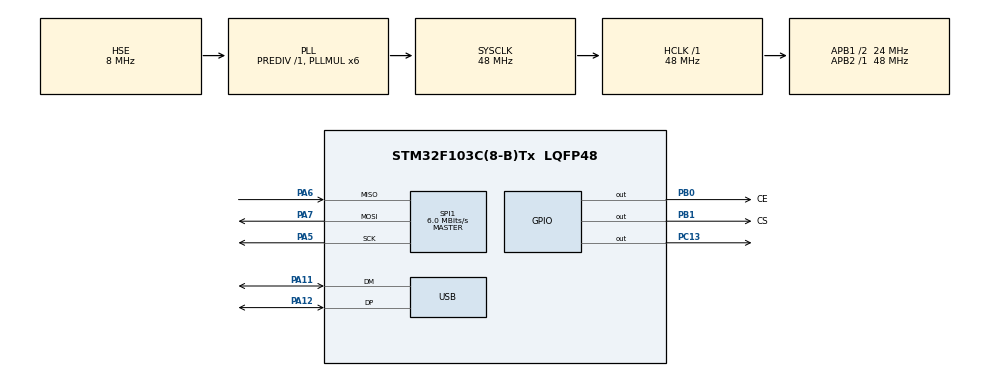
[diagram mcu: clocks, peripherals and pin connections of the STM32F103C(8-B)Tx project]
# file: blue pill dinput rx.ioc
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Mcu.Family=STM32F1
Mcu.Name=STM32F103C(8-B)Tx
Mcu.Package=LQFP48
NVIC.PriorityGroup=NVIC_PRIORITYGROUP_4
NVIC.SPI1_IRQn=true\:0\:0\:false\:false\:true\:true\:true\:true
NVIC.USB_LP_CAN1_RX0_IRQn=true\:0\:0\:false\:false\:true\:false\:true\:true
PA11.Mode=Device
PA11.Signal=USB_DM
PA12.Mode=Device
PA12.Signal=USB_DP
PA13.Mode=Serial_Wire
PA13.Signal=SYS_JTMS-SWDIO
PA14.Mode=Serial_Wire
PA14.Signal=SYS_JTCK-SWCLK
PA5.Mode=Full_Duplex_Master
PA5.Signal=SPI1_SCK
PA6.Mode=Full_Duplex_Master
PA6.Signal=SPI1_MISO
PA7.Mode=Full_Duplex_Master
PA7.Signal=SPI1_MOSI
PB0.GPIO_Label=CE
PB0.GPIO_Speed=GPIO_SPEED_FREQ_HIGH
PB0.Signal=GPIO_Output
PB1.GPIO_Label=CS
PB1.GPIO_Speed=GPIO_SPEED_FREQ_HIGH
PB1.Signal=GPIO_Output
PC13-TAMPER-RTC.Signal=GPIO_Output
PD0-OSC_IN.Mode=HSE-External-Oscillator
PD0-OSC_IN.Signal=RCC_OSC_IN
PD1-OSC_OUT.Mode=HSE-External-Oscillator
PD1-OSC_OUT.Signal=RCC_OSC_OUT
ProjectManager.HeapSize=0x200
ProjectManager.StackSize=0x400
ProjectManager.TargetToolchain=STM32CubeIDE
RCC.ADCPresc=RCC_ADCPCLK2_DIV4
RCC.AHBFreq_Value=48000000
RCC.APB1CLKDivider=RCC_HCLK_DIV2
RCC.APB1Freq_Value=24000000
RCC.APB1TimFreq_Value=48000000
RCC.APB2Freq_Value=48000000
RCC.APB2TimFreq_Value=48000000
RCC.HCLKFreq_Value=48000000
RCC.PLLMUL=RCC_PLL_MUL6
RCC.SYSCLKFreq_VALUE=48000000
RCC.SYSCLKSource=RCC_SYSCLKSOURCE_PLLCLK
RCC.USBFreq_Value=48000000
SPI1.BaudRatePrescaler=SPI_BAUDRATEPRESCALER_8
SPI1.CalculateBaudRate=6.0 MBits/s
SPI1.Direction=SPI_DIRECTION_2LINES
SPI1.Mode=SPI_MODE_MASTER
SPI1.VirtualType=VM_MASTER
USB_DEVICE.CLASS_NAME_FS=HID
USB_DEVICE.MANUFACTURER_STRING=Pie1722
USB_DEVICE.PRODUCT_STRING_HID_FS=BluePill
USB_DEVICE.VirtualMode=Hid
USB_DEVICE.VirtualModeFS=Hid_FS
VP_USB_DEVICE_VS_USB_DEVICE_HID_FS.Mode=HID_FS
board=custom

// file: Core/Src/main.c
/* USER CODE BEGIN Header */
/**
  ******************************************************************************
  * @file           : main.c
  * @brief          : Main program body
  ******************************************************************************
  * @attention
  *
  * Copyright (c) 2025 STMicroelectronics.
  * All rights reserved.
  *
  * This software is licensed under terms that can be found in the LICENSE file
  * in the root directory of this software component.
  * If no LICENSE file comes with this software, it is provided AS-IS.
  *
  ******************************************************************************
  */
/* USER CODE END Header */
#include "main.h"
#include "usb_device.h"

/* USER CODE BEGIN Includes */
#include "usbd_hid.h"
#include "stm32f1xx_hal.h"
#include "NRF24.h"
#include "NRF24_conf.h"
#include "NRF24_reg_addresses.h"
extern USBD_HandleTypeDef hUsbDeviceFS;
/* USER CODE END Includes */

/* USER CODE BEGIN PD */
typedef struct __attribute__((packed)) {
    uint16_t buttons;
    uint8_t hat;
    int16_t x, y, za, zr;
} joystickReport;

struct JoystickData {
  uint16_t code;
  uint16_t xAxis;
  uint16_t yAxis;
  uint16_t rXaxis;
  uint16_t rYaxis;
  uint16_t buttons;    // 16 bits, 16 buttons
};

struct JoystickData joy;

void reset_joystick_state(void)
{
    joy.code = 0;
    joy.xAxis = 0;
    joy.yAxis = 0;
    joy.rXaxis = 0;
    joy.rYaxis = 0;
    joy.buttons = 0;
}

/* USER CODE END PD */

SPI_HandleTypeDef hspi1;

void SystemClock_Config(void);
static void MX_GPIO_Init(void);
static void MX_SPI1_Init(void);

/* USER CODE BEGIN 0 */

#define PLD_S sizeof(joy)

uint32_t led_timeout = 0;

//uint8_t tx_ack_pld[PLD_S];
uint8_t tx_addr[5] = {0x45, 0x55, 0x67, 0x10, 0x21};

uint8_t nrf24_is_connected(void)
{
    uint8_t testVal = 0x0A;  // Random check pattern
    uint8_t readVal = 0;

    // Write CONFIG register
    nrf24_w_reg(CONFIG, &testVal, 1);

    // Read CONFIG register
    readVal = nrf24_r_reg(CONFIG, 1);

    return (readVal == testVal);
}

uint8_t get_hat_value(uint16_t btn)
{
	uint8_t up    = (btn >> 0) & 1;
	uint8_t down  = (btn >> 1) & 1;
	uint8_t left  = (btn >> 2) & 1;
	uint8_t right = (btn >> 3) & 1;

    if (up)            return 0;  // Up
    if (up && right)   return 1;  // Up-Right
    if (right)         return 2;  // Right
    if (right && down) return 3;  // Down-Right
    if (down)          return 4;  // Down
    if (down && left)  return 5;  // Down-Left
    if (left)          return 6;  // Left
    if (left && up)    return 7;  // Up-Left

    return 0x0F;  // Neutral
}

void send_gamepad_report(void)
{

	joystickReport report = {0};
    uint16_t btn = joy.buttons;

    // ---- Buttons: Read 10 GPIOs  ----
    report.buttons |= (((btn >> 9)  & 1) << 0);  // X
    report.buttons |= (((btn >> 10) & 1) << 1);  // A
    report.buttons |= (((btn >> 11) & 1) << 2);  // B
    report.buttons |= (((btn >> 8)  & 1) << 3);  // Y
    report.buttons |= (((btn >> 5)  & 1) << 4);  // LB
    report.buttons |= (((btn >> 7)  & 1) << 5);  // RB
    report.buttons |= (((btn >> 4)  & 1) << 6);  // LT
    report.buttons |= (((btn >> 6)  & 1) << 7);  // RT
    report.buttons |= (((btn >> 14) & 1) << 8);  // Back
    report.buttons |= (((btn >> 15) & 1) << 9);  // Start
    report.buttons |= (((btn >> 12) & 1) << 10); // L3
    report.buttons |= (((btn >> 13) & 1) << 11); // R3

    // ---- Hat switch ----
    report.hat = get_hat_value(btn);

    // ---- Axes: ADC static data ----

	report.x = joy.xAxis;
	report.y = joy.yAxis;
	report.zr = joy.rXaxis;
	report.za = joy.rYaxis;

    // ---- Send 11-byte report ----
    USBD_HID_SendReport(&hUsbDeviceFS, (uint8_t*)&report, sizeof(report));
}
/* USER CODE END 0 */

int main(void)
{

  /* MCU Configuration--------------------------------------------------------*/

  /* Reset of all peripherals, Initializes the Flash interface and the Systick. */
  HAL_Init();

  /* Configure the system clock */
  SystemClock_Config();

  /* Initialize all configured peripherals */
  MX_GPIO_Init();
  MX_USB_DEVICE_Init();
  MX_SPI1_Init();
  /* USER CODE BEGIN 2 */

  csn_high();
  ce_high();

  HAL_Delay(5);

  ce_low();

  nrf24_init();

  HAL_Delay(5);

  if (!nrf24_is_connected()) {
      // Blink forever → NRF missing or SPI problem
      while (1) {
          HAL_GPIO_TogglePin(LED_BLTN_GPIO_Port, LED_BLTN_Pin);
          HAL_Delay(200);
      }
  }

  nrf24_listen();

  nrf24_auto_ack_all(auto_ack);
  nrf24_en_ack_pld(disable);
  nrf24_dpl(disable);

  nrf24_set_crc(en_crc, _2byte);

  nrf24_tx_pwr(_0dbm);
  nrf24_data_rate(_2mbps);
  nrf24_set_channel(76);
  nrf24_set_addr_width(5);

  nrf24_set_rx_dpl(0, disable);
  nrf24_set_rx_dpl(1, disable);
  nrf24_set_rx_dpl(2, disable);
  nrf24_set_rx_dpl(3, disable);
  nrf24_set_rx_dpl(4, disable);
  nrf24_set_rx_dpl(5, disable);

  nrf24_pipe_pld_size(0, PLD_S);

  nrf24_auto_retr_delay(4);
  nrf24_auto_retr_limit(10);

  nrf24_open_tx_pipe(tx_addr);
  nrf24_open_rx_pipe(0, tx_addr);
  ce_high();
  /* USER CODE END 2 */

  /* Infinite loop */
  /* USER CODE BEGIN WHILE */
  while (1)
  {
	  //reset_joystick_state();
	  nrf24_listen();

	  	if(nrf24_data_available()){
	  		nrf24_receive((uint8_t*)&joy, sizeof(joy));
	  		//led_timeout = HAL_GetTick() + 100; // keep LED on 100ms
	  	    if (joy.code == 0xFAE7) {
	  	        led_timeout = HAL_GetTick() + 100;
	  	        send_gamepad_report();   // only send valid data
	  	    }
	  	}

	  	if (HAL_GetTick() < led_timeout) {
	  	    HAL_GPIO_WritePin(LED_BLTN_GPIO_Port, LED_BLTN_Pin, GPIO_PIN_RESET); // ON
	  	} else {
	  	    HAL_GPIO_WritePin(LED_BLTN_GPIO_Port, LED_BLTN_Pin, GPIO_PIN_SET);   // OFF
	  	}

	  //send_gamepad_report();
    /* USER CODE END WHILE */

  }
}

void SystemClock_Config(void)
{
  RCC_OscInitTypeDef RCC_OscInitStruct = {0};
  RCC_ClkInitTypeDef RCC_ClkInitStruct = {0};
  RCC_PeriphCLKInitTypeDef PeriphClkInit = {0};

  /** Initializes the RCC Oscillators according to the specified parameters
  * in the RCC_OscInitTypeDef structure.
  */
  RCC_OscInitStruct.OscillatorType = RCC_OSCILLATORTYPE_HSE;
  RCC_OscInitStruct.HSEState = RCC_HSE_ON;
  RCC_OscInitStruct.HSEPredivValue = RCC_HSE_PREDIV_DIV1;
  RCC_OscInitStruct.HSIState = RCC_HSI_ON;
  RCC_OscInitStruct.PLL.PLLState = RCC_PLL_ON;
  RCC_OscInitStruct.PLL.PLLSource = RCC_PLLSOURCE_HSE;
  RCC_OscInitStruct.PLL.PLLMUL = RCC_PLL_MUL6;
  if (HAL_RCC_OscConfig(&RCC_OscInitStruct) != HAL_OK)
  {
    Error_Handler();
  }

  /** Initializes the CPU, AHB and APB buses clocks
  */
  RCC_ClkInitStruct.ClockType = RCC_CLOCKTYPE_HCLK|RCC_CLOCKTYPE_SYSCLK
                              |RCC_CLOCKTYPE_PCLK1|RCC_CLOCKTYPE_PCLK2;
  RCC_ClkInitStruct.SYSCLKSource = RCC_SYSCLKSOURCE_PLLCLK;
  RCC_ClkInitStruct.AHBCLKDivider = RCC_SYSCLK_DIV1;
  RCC_ClkInitStruct.APB1CLKDivider = RCC_HCLK_DIV2;
  RCC_ClkInitStruct.APB2CLKDivider = RCC_HCLK_DIV1;

  if (HAL_RCC_ClockConfig(&RCC_ClkInitStruct, FLASH_LATENCY_1) != HAL_OK)
  {
    Error_Handler();
  }
  PeriphClkInit.PeriphClockSelection = RCC_PERIPHCLK_USB;
  PeriphClkInit.UsbClockSelection = RCC_USBCLKSOURCE_PLL;
  if (HAL_RCCEx_PeriphCLKConfig(&PeriphClkInit) != HAL_OK)
  {
    Error_Handler();
  }
}

static void MX_SPI1_Init(void)
{

  /* SPI1 parameter configuration*/
  hspi1.Instance = SPI1;
  hspi1.Init.Mode = SPI_MODE_MASTER;
  hspi1.Init.Direction = SPI_DIRECTION_2LINES;
  hspi1.Init.DataSize = SPI_DATASIZE_8BIT;
  hspi1.Init.CLKPolarity = SPI_POLARITY_LOW;
  hspi1.Init.CLKPhase = SPI_PHASE_1EDGE;
  hspi1.Init.NSS = SPI_NSS_SOFT;
  hspi1.Init.BaudRatePrescaler = SPI_BAUDRATEPRESCALER_8;
  hspi1.Init.FirstBit = SPI_FIRSTBIT_MSB;
  hspi1.Init.TIMode = SPI_TIMODE_DISABLE;
  hspi1.Init.CRCCalculation = SPI_CRCCALCULATION_DISABLE;
  hspi1.Init.CRCPolynomial = 10;
  if (HAL_SPI_Init(&hspi1) != HAL_OK)
  {
    Error_Handler();
  }

}

static void MX_GPIO_Init(void)
{
  GPIO_InitTypeDef GPIO_InitStruct = {0};

  /* GPIO Ports Clock Enable */
  __HAL_RCC_GPIOC_CLK_ENABLE();
  __HAL_RCC_GPIOD_CLK_ENABLE();
  __HAL_RCC_GPIOA_CLK_ENABLE();
  __HAL_RCC_GPIOB_CLK_ENABLE();

  /*Configure GPIO pin Output Level */
  //HAL_GPIO_WritePin(GPIOC, GPIO_PIN_13, GPIO_PIN_RESET);

  /*Configure GPIO pin Output Level */
  HAL_GPIO_WritePin(GPIOA, CE_Pin|CS_Pin, GPIO_PIN_RESET);

  /*Configure GPIO pin : PC13 */
  GPIO_InitStruct.Pin = GPIO_PIN_13;
  GPIO_InitStruct.Mode = GPIO_MODE_OUTPUT_PP;
  GPIO_InitStruct.Pull = GPIO_NOPULL;
  GPIO_InitStruct.Speed = GPIO_SPEED_FREQ_LOW;
  HAL_GPIO_Init(GPIOC, &GPIO_InitStruct);

  /*Configure GPIO pins : CE_Pin CS_Pin */
  GPIO_InitStruct.Pin = CE_Pin|CS_Pin;
  GPIO_InitStruct.Mode = GPIO_MODE_OUTPUT_PP;
  GPIO_InitStruct.Pull = GPIO_NOPULL;
  GPIO_InitStruct.Speed = GPIO_SPEED_FREQ_HIGH;
  HAL_GPIO_Init(GPIOA, &GPIO_InitStruct);

  /* USER CODE BEGIN MX_GPIO_Init_2 */
  HAL_GPIO_WritePin(LED_BLTN_GPIO_Port, LED_BLTN_Pin, GPIO_PIN_SET);
  /* USER CODE END MX_GPIO_Init_2 */
}

void Error_Handler(void)
{
  __disable_irq();
  while (1)
  {
  }
}
